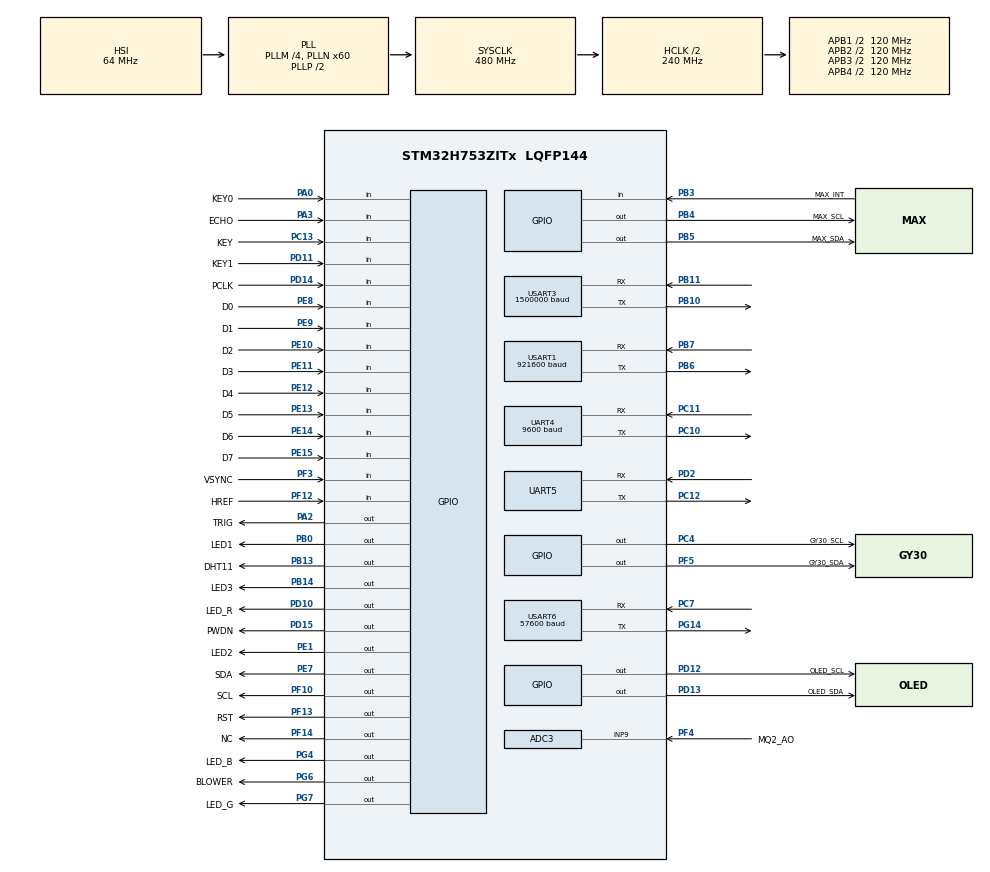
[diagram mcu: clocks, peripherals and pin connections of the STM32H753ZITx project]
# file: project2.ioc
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ADC3.Channel-2\#ChannelRegularConversion=ADC_CHANNEL_9
ADC3.ClockPrescalerADC3=ADC_CLOCK_ASYNC_DIV10
ADC3.NbrOfConversionFlag=1
ADC3.OffsetNumber-2\#ChannelRegularConversion=ADC_OFFSET_NONE
ADC3.OffsetSignedSaturation-2\#ChannelRegularConversion=DISABLE
ADC3.Rank-2\#ChannelRegularConversion=1
ADC3.SamplingTime-2\#ChannelRegularConversion=ADC_SAMPLETIME_387CYCLES_5
CORTEX_M7.CPU_DCache=Enabled
CORTEX_M7.CPU_ICache=Enabled
CORTEX_M7.default_mode_Activation=1
Dma.Request0=USART1_TX
Dma.Request1=UART4_RX
Dma.Request2=USART3_RX
Dma.UART4_RX.1.Direction=DMA_PERIPH_TO_MEMORY
Dma.UART4_RX.1.EventEnable=DISABLE
Dma.UART4_RX.1.FIFOMode=DMA_FIFOMODE_DISABLE
Dma.UART4_RX.1.Instance=DMA1_Stream1
Dma.UART4_RX.1.MemDataAlignment=DMA_MDATAALIGN_BYTE
Dma.UART4_RX.1.MemInc=DMA_MINC_ENABLE
Dma.UART4_RX.1.Mode=DMA_NORMAL
Dma.UART4_RX.1.PeriphDataAlignment=DMA_PDATAALIGN_BYTE
Dma.UART4_RX.1.PeriphInc=DMA_PINC_DISABLE
Dma.UART4_RX.1.Polarity=HAL_DMAMUX_REQ_GEN_RISING
Dma.UART4_RX.1.Priority=DMA_PRIORITY_LOW
Dma.UART4_RX.1.RequestNumber=1
Dma.UART4_RX.1.SignalID=NONE
Dma.UART4_RX.1.SyncEnable=DISABLE
Dma.UART4_RX.1.SyncPolarity=HAL_DMAMUX_SYNC_NO_EVENT
Dma.UART4_RX.1.SyncRequestNumber=1
Dma.UART4_RX.1.SyncSignalID=NONE
Dma.USART1_TX.0.Direction=DMA_MEMORY_TO_PERIPH
Dma.USART1_TX.0.EventEnable=DISABLE
Dma.USART1_TX.0.FIFOMode=DMA_FIFOMODE_DISABLE
Dma.USART1_TX.0.Instance=DMA1_Stream0
Dma.USART1_TX.0.MemDataAlignment=DMA_MDATAALIGN_BYTE
Dma.USART1_TX.0.MemInc=DMA_MINC_ENABLE
Dma.USART1_TX.0.Mode=DMA_NORMAL
Dma.USART1_TX.0.PeriphDataAlignment=DMA_PDATAALIGN_BYTE
Dma.USART1_TX.0.PeriphInc=DMA_PINC_DISABLE
Dma.USART1_TX.0.Polarity=HAL_DMAMUX_REQ_GEN_RISING
Dma.USART1_TX.0.Priority=DMA_PRIORITY_MEDIUM
Dma.USART1_TX.0.RequestNumber=1
Dma.USART1_TX.0.SignalID=NONE
Dma.USART1_TX.0.SyncEnable=DISABLE
Dma.USART1_TX.0.SyncPolarity=HAL_DMAMUX_SYNC_NO_EVENT
Dma.USART1_TX.0.SyncRequestNumber=1
Dma.USART1_TX.0.SyncSignalID=NONE
Dma.USART3_RX.2.Direction=DMA_PERIPH_TO_MEMORY
Dma.USART3_RX.2.EventEnable=DISABLE
Dma.USART3_RX.2.FIFOMode=DMA_FIFOMODE_DISABLE
Dma.USART3_RX.2.Instance=DMA1_Stream2
Dma.USART3_RX.2.MemDataAlignment=DMA_MDATAALIGN_BYTE
Dma.USART3_RX.2.MemInc=DMA_MINC_ENABLE
Dma.USART3_RX.2.Mode=DMA_NORMAL
Dma.USART3_RX.2.PeriphDataAlignment=DMA_PDATAALIGN_BYTE
Dma.USART3_RX.2.PeriphInc=DMA_PINC_DISABLE
Dma.USART3_RX.2.Polarity=HAL_DMAMUX_REQ_GEN_RISING
Dma.USART3_RX.2.Priority=DMA_PRIORITY_VERY_HIGH
Dma.USART3_RX.2.RequestNumber=1
Dma.USART3_RX.2.SignalID=NONE
Dma.USART3_RX.2.SyncEnable=DISABLE
Dma.USART3_RX.2.SyncPolarity=HAL_DMAMUX_SYNC_NO_EVENT
Dma.USART3_RX.2.SyncRequestNumber=1
Dma.USART3_RX.2.SyncSignalID=NONE
FREERTOS.BinarySemaphores01=frameReadySem,Dynamic,NULL,Available;uartTxSem,Dynamic,NULL,Available
FREERTOS.Mutexes01=cameraMutex,Dynamic,NULL,Available;uartMutex,Dynamic,NULL,Available
FREERTOS.Queues01=imageQueue,2,20,1,Dynamic,NULL,NULL;cmdQueue,8,64,1,Dynamic,NULL,NULL;resultQueue,4,12,1,Dynamic,NULL,NULL
FREERTOS.Tasks01=Task_led_proc,24,128,AppTask_led_proc,Default,NULL,Dynamic,NULL,NULL;Task_key_read,52,256,AppTask_key_read,Default,NULL,Dynamic,NULL,NULL;Task_key_proc,41,512,AppTask_key_proc,Default,NULL,Dynamic,NULL,NULL;Task_oled_disp,17,512,AppTask_oled_disp,Default,NULL,Dynamic,NULL,NULL;Task_openmv_rx,37,2048,AppTask_openmv_rx,As weak,NULL,Dynamic,NULL,NULL;Task_uart_tx,38,2048,AppTask_uart_tx,As weak,NULL,Dynamic,NULL,NULL;Task_uart_rx,32,1024,AppTask_uart_rx,As weak,NULL,Dynamic,NULL,NULL;Task_inference,30,4096,AppTask_inference,As weak,NULL,Dynamic,NULL,NULL;Task_sensor,24,512,AppTask_sensor,As weak,NULL,Dynamic,NULL,NULL
FREERTOS.configENABLE_FPU=1
FREERTOS.configMAX_TASK_NAME_LEN=32
FREERTOS.configTOTAL_HEAP_SIZE=120000
Mcu.Family=STM32H7
Mcu.Name=STM32H753ZITx
Mcu.Package=LQFP144
NVIC.DMA1_Stream0_IRQn=true\:5\:0\:false\:false\:true\:true\:false\:true\:true
NVIC.DMA1_Stream1_IRQn=true\:5\:0\:false\:false\:true\:true\:false\:true\:true
NVIC.DMA1_Stream2_IRQn=true\:5\:0\:false\:false\:true\:true\:false\:true\:true
NVIC.PriorityGroup=NVIC_PRIORITYGROUP_4
NVIC.TIM2_IRQn=true\:5\:0\:false\:false\:true\:true\:true\:true\:true
NVIC.TIM6_DAC_IRQn=true\:0\:0\:true\:false\:true\:false\:false\:true\:true
NVIC.TimeBase=TIM6_DAC_IRQn
NVIC.TimeBaseIP=TIM6
NVIC.UART4_IRQn=true\:5\:0\:false\:false\:true\:true\:true\:true\:true
NVIC.UART5_IRQn=true\:5\:0\:false\:false\:true\:true\:true\:true\:true
NVIC.USART1_IRQn=true\:5\:0\:false\:false\:true\:true\:false\:true\:true
NVIC.USART3_IRQn=true\:5\:0\:false\:false\:true\:true\:true\:true\:true
NVIC.USART6_IRQn=true\:5\:0\:false\:false\:true\:true\:true\:true\:true
PA0.GPIO_Label=KEY0
PA0.GPIO_PuPd=GPIO_PULLUP
PA0.Signal=GPIO_Input
PA13\ (JTMS/SWDIO).Mode=Serial_Wire
PA13\ (JTMS/SWDIO).Signal=DEBUG_JTMS-SWDIO
PA14\ (JTCK/SWCLK).Mode=Serial_Wire
PA14\ (JTCK/SWCLK).Signal=DEBUG_JTCK-SWCLK
PA2.GPIO_Label=TRIG
PA2.GPIO_Speed=GPIO_SPEED_FREQ_VERY_HIGH
PA2.Signal=GPIO_Output
PA3.GPIO_Label=ECHO
PA3.Signal=GPIO_Input
PB0.GPIO_Label=LED1
PB0.Signal=GPIO_Output
PB10.Mode=Asynchronous
PB10.Signal=USART3_TX
PB11.Mode=Asynchronous
PB11.Signal=USART3_RX
PB13.GPIO_Label=DHT11
PB13.GPIO_Speed=GPIO_SPEED_FREQ_VERY_HIGH
PB13.Signal=GPIO_Output
PB14.GPIO_Label=LED3
PB14.Signal=GPIO_Output
PB3\ (JTDO/TRACESWO).GPIO_Label=MAX_INT
PB3\ (JTDO/TRACESWO).Signal=GPIO_Input
PB4\ (NJTRST).GPIO_Label=MAX_SCL
PB4\ (NJTRST).GPIO_Speed=GPIO_SPEED_FREQ_VERY_HIGH
PB4\ (NJTRST).Signal=GPIO_Output
PB5.GPIO_Label=MAX_SDA
PB5.GPIO_Speed=GPIO_SPEED_FREQ_VERY_HIGH
PB5.Signal=GPIO_Output
PB6.Mode=Asynchronous
PB6.Signal=USART1_TX
PB7.Mode=Asynchronous
PB7.Signal=USART1_RX
PC10.Mode=Asynchronous
PC10.Signal=UART4_TX
PC11.Mode=Asynchronous
PC11.Signal=UART4_RX
PC12.Mode=Asynchronous
PC12.Signal=UART5_TX
PC13.GPIO_Label=KEY
PC13.GPIO_PuPd=GPIO_PULLUP
PC13.Signal=GPIO_Input
PC4.GPIO_Label=GY30_SCL
PC4.Signal=GPIO_Output
PC7.Mode=Asynchronous
PC7.Signal=USART6_RX
PD10.GPIO_Label=LED_R
PD10.Signal=GPIO_Output
PD11.GPIO_Label=KEY1
PD11.GPIO_PuPd=GPIO_PULLUP
PD11.Signal=GPIO_Input
PD12.GPIO_Label=OLED_SCL
PD12.GPIO_Speed=GPIO_SPEED_FREQ_VERY_HIGH
PD12.Signal=GPIO_Output
PD13.GPIO_Label=OLED_SDA
PD13.GPIO_Speed=GPIO_SPEED_FREQ_VERY_HIGH
PD13.Signal=GPIO_Output
PD14.GPIO_Label=PCLK
PD14.GPIO_PuPd=GPIO_PULLUP
PD14.Signal=GPIO_Input
PD15.GPIO_Label=PWDN
PD15.GPIO_Speed=GPIO_SPEED_FREQ_VERY_HIGH
PD15.Signal=GPIO_Output
PD2.Mode=Asynchronous
PD2.Signal=UART5_RX
PE1.GPIO_Label=LED2
PE1.Signal=GPIO_Output
PE10.GPIO_Label=D2
PE10.GPIO_Mode=GPIO_MODE_INPUT
PE10.GPIO_PuPd=GPIO_PULLUP
PE10.Signal=GPIO_Input
PE11.GPIO_Label=D3
PE11.GPIO_Mode=GPIO_MODE_INPUT
PE11.GPIO_PuPd=GPIO_PULLUP
PE11.Signal=GPIO_Input
PE12.GPIO_Label=D4
PE12.GPIO_Mode=GPIO_MODE_INPUT
PE12.GPIO_PuPd=GPIO_PULLUP
PE12.Signal=GPIO_Input
PE13.GPIO_Label=D5
PE13.GPIO_Mode=GPIO_MODE_INPUT
PE13.GPIO_PuPd=GPIO_PULLUP
PE13.Signal=GPIO_Input
PE14.GPIO_Label=D6
PE14.GPIO_Mode=GPIO_MODE_INPUT
PE14.GPIO_PuPd=GPIO_PULLUP
PE14.Signal=GPIO_Input
PE15.GPIO_Label=D7
PE15.Signal=GPIO_Input
PE7.GPIO_Label=SDA
PE7.GPIO_Speed=GPIO_SPEED_FREQ_VERY_HIGH
PE7.Signal=GPIO_Output
PE8.GPIO_Label=D0
PE8.GPIO_Mode=GPIO_MODE_INPUT
PE8.GPIO_PuPd=GPIO_PULLUP
PE8.Signal=GPIO_Input
PE9.GPIO_Label=D1
PE9.GPIO_Mode=GPIO_MODE_INPUT
PE9.GPIO_PuPd=GPIO_PULLUP
PE9.Signal=GPIO_Input
PF10.GPIO_Label=SCL
PF10.GPIO_Speed=GPIO_SPEED_FREQ_VERY_HIGH
PF10.Signal=GPIO_Output
PF12.GPIO_Label=HREF
PF12.Signal=GPIO_Input
PF13.GPIO_Label=RST
PF13.GPIO_Speed=GPIO_SPEED_FREQ_VERY_HIGH
PF13.Signal=GPIO_Output
PF14.GPIO_Label=NC
PF14.Signal=GPIO_Output
PF3.GPIO_Label=VSYNC
PF3.Signal=GPIO_Input
PF4.GPIO_Label=MQ2_AO
PF4.Signal=SharedAnalog_PF4
PF5.GPIO_Label=GY30_SDA
PF5.Signal=GPIO_Output
PG14.Mode=Asynchronous
PG14.Signal=USART6_TX
PG4.GPIO_Label=LED_B
PG4.Signal=GPIO_Output
PG6.GPIO_Label=BLOWER
PG6.Signal=GPIO_Output
PG7.GPIO_Label=LED_G
PG7.Signal=GPIO_Output
PH0-OSC_IN\ (PH0).Mode=HSE-External-Clock-Source
PH0-OSC_IN\ (PH0).Signal=RCC_OSC_IN
ProjectManager.HeapSize=0x4000
ProjectManager.StackSize=0x4000
ProjectManager.TargetToolchain=MDK-ARM V5
RCC.ADCFreq_Value=80000000
RCC.APB1Freq_Value=120000000
RCC.APB2Freq_Value=120000000
RCC.APB3Freq_Value=120000000
RCC.APB4Freq_Value=120000000
RCC.CortexFreq_Value=480000000
RCC.D1PPRE=RCC_APB3_DIV2
RCC.D2PPRE1=RCC_APB1_DIV2
RCC.D2PPRE2=RCC_APB2_DIV2
RCC.D3PPRE=RCC_APB4_DIV2
RCC.DIVM1=4
RCC.DIVM2=4
RCC.DIVN1=60
RCC.DIVN2=10
RCC.HCLKFreq_Value=240000000
RCC.HPRE=RCC_HCLK_DIV2
RCC.HSE_VALUE=8000000
RCC.PLL2FRACN=0
RCC.PLL3FRACN=0
RCC.PLLFRACN=0
RCC.SYSCLKFreq_VALUE=480000000
RCC.SYSCLKSource=RCC_SYSCLKSOURCE_PLLCLK
RCC.USBFreq_Value=480000000
SH.SharedAnalog_PF4.0=GPIO_Analog
SH.SharedAnalog_PF4.1=ADC3_INP9,IN9-Single-Ended
STMicroelectronics.X-CUBE-AI.10.2.0.ActivationBufferSizeList=169532
STMicroelectronics.X-CUBE-AI.10.2.0.ActivationBuffers=pool0
STMicroelectronics.X-CUBE-AI.10.2.0.ActivationNames=pool0
STMicroelectronics.X-CUBE-AI.10.2.0.ActivationSizes=AI_NETWORK_1_DATA_ACTIVATION_1_SIZE
STMicroelectronics.X-CUBE-AI.10.2.0.ApplicationCcDeviceJjApplication=ApplicationTemplate
STMicroelectronics.X-CUBE-AI.10.2.0.HeapSize=0x4000
STMicroelectronics.X-CUBE-AI.10.2.0.InternalRamActivationBufferMaxSize=AI_NETWORK_1_DATA_ACTIVATIONS_SIZE
STMicroelectronics.X-CUBE-AI.10.2.0.LatestDirectoryUsed-735abd6a2dead4f7d4e1e6c74ac3a1c572184ff07e9baa3c7e2df6b51f182d50=E\:\\Embedded\\Project\\Edge_AI_Gesture_Recognition-main\\Python
STMicroelectronics.X-CUBE-AI.10.2.0.MaximumNumberOfInputLayer=1
STMicroelectronics.X-CUBE-AI.10.2.0.MaximumNumberOfOutputLayer=1
STMicroelectronics.X-CUBE-AI.10.2.0.MaximumSizeOfInputLayer=1
STMicroelectronics.X-CUBE-AI.10.2.0.MaximumSizeOfOutputLayer=1
STMicroelectronics.X-CUBE-AI.10.2.0.ModelActualCompression-735abd6a2dead4f7d4e1e6c74ac3a1c572184ff07e9baa3c7e2df6b51f182d50=0.0
STMicroelectronics.X-CUBE-AI.10.2.0.ModelCompression-735abd6a2dead4f7d4e1e6c74ac3a1c572184ff07e9baa3c7e2df6b51f182d50=None
STMicroelectronics.X-CUBE-AI.10.2.0.ModelFlashOccupation-735abd6a2dead4f7d4e1e6c74ac3a1c572184ff07e9baa3c7e2df6b51f182d50=137900
STMicroelectronics.X-CUBE-AI.10.2.0.ModelHashList=735abd6a2dead4f7d4e1e6c74ac3a1c572184ff07e9baa3c7e2df6b51f182d50
STMicroelectronics.X-CUBE-AI.10.2.0.ModelKind-735abd6a2dead4f7d4e1e6c74ac3a1c572184ff07e9baa3c7e2df6b51f182d50=ONNX
STMicroelectronics.X-CUBE-AI.10.2.0.ModelMacc-735abd6a2dead4f7d4e1e6c74ac3a1c572184ff07e9baa3c7e2df6b51f182d50=10995965
STMicroelectronics.X-CUBE-AI.10.2.0.ModelName-735abd6a2dead4f7d4e1e6c74ac3a1c572184ff07e9baa3c7e2df6b51f182d50=network_1
STMicroelectronics.X-CUBE-AI.10.2.0.ModelNameList=network_1
STMicroelectronics.X-CUBE-AI.10.2.0.ModelRamOccupation-735abd6a2dead4f7d4e1e6c74ac3a1c572184ff07e9baa3c7e2df6b51f182d50=169532
STMicroelectronics.X-CUBE-AI.10.2.0.ModelStructureFile-735abd6a2dead4f7d4e1e6c74ac3a1c572184ff07e9baa3c7e2df6b51f182d50=E\:\\Embedded\\Project\\Edge_AI_Gesture_Recognition-main\\Python\\gesture_v2_strongaug_int8.onnx
STMicroelectronics.X-CUBE-AI.10.2.0.ModelType-735abd6a2dead4f7d4e1e6c74ac3a1c572184ff07e9baa3c7e2df6b51f182d50=STM32Cube.AI MCU runtime
STMicroelectronics.X-CUBE-AI.10.2.0.ReadyForCodeGeneration=true
STMicroelectronics.X-CUBE-AI.10.2.0.StackSize=0x4000
STMicroelectronics.X-CUBE-AI.10.2.0.WorkingBufferStartAddrList=0xFFFFFFFF
STMicroelectronics.X-CUBE-AI.10.2.0.XAaCUBEAaAICcArtificialOoIntelligenceJjCore=true
STMicroelectronics.X-CUBE-AI.10.2.0.copyWeightToRam=false
STMicroelectronics.X-CUBE-AI.10.2.0.customLayerConfigEnabled=false
STMicroelectronics.X-CUBE-AI.10.2.0.noOnnxIoTranspose=false
STMicroelectronics.X-CUBE-AI.10.2.0.useInputAllocation=true
STMicroelectronics.X-CUBE-AI.10.2.0.useOutputAllocation=true
TIM2.Period=100-1
TIM2.Prescaler=240-1
UART4.BaudRate=9600
USART1.BaudRate=921600
USART1.VirtualMode-Asynchronous=VM_ASYNC
USART3.BaudRate=1500000
USART3.VirtualMode-Asynchronous=VM_ASYNC
USART6.BaudRate=57600
USART6.VirtualMode-Asynchronous=VM_ASYNC
VP_FREERTOS_VS_CMSIS_V2.Mode=CMSIS_V2
VP_MEMORYMAP_VS_MEMORYMAP.Mode=CurAppReg
VP_STMicroelectronics.X-CUBE-AI_VS_ArtificialOoIntelligenceJjXAaCUBEAaAI_10.2.0.Mode=ArtificialOoIntelligenceJjXAaCUBEAaAI
VP_STMicroelectronics.X-CUBE-AI_VS_DeviceJjApplication_10.2.0.Mode=DeviceJjApplication
VP_SYS_VS_tim6.Mode=TIM6
VP_TIM2_VS_ClockSourceINT.Mode=Internal
board=custom

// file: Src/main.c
/* USER CODE BEGIN Header */
/**
  ******************************************************************************
  * @file           : main.c
  * @brief          : Main program body
  ******************************************************************************
  * @attention
  *
  * Copyright (c) 2025 STMicroelectronics.
  * All rights reserved.
  *
  * This software is licensed under terms that can be found in the LICENSE file
  * in the root directory of this software component.
  * If no LICENSE file comes with this software, it is provided AS-IS.
  *
  ******************************************************************************
  */
/* USER CODE END Header */
#include "main.h"
#include "cmsis_os.h"
#include "adc.h"
#include "dma.h"
#include "memorymap.h"
#include "tim.h"
#include "usart.h"
#include "gpio.h"
#include "app_x-cube-ai.h"

/* USER CODE BEGIN Includes */

#include "headfile.h"

/* USER CODE END Includes */

/* USER CODE BEGIN PV */
//UART_HandleTypeDef huart1;
//DMA_HandleTypeDef hdma_usart1_tx;
/* USER CODE END PV */

void SystemClock_Config(void);
static void MPU_Config(void);
void MX_FREERTOS_Init(void);

int main(void)
{

  /* USER CODE BEGIN 1 */
	//SCB_DisableDCache();
  /* USER CODE END 1 */

  /* MPU Configuration--------------------------------------------------------*/
  MPU_Config();

  /* Enable the CPU Cache */

  /* Enable I-Cache---------------------------------------------------------*/
  SCB_EnableICache();

  /* Enable D-Cache---------------------------------------------------------*/
  SCB_EnableDCache();

  /* MCU Configuration--------------------------------------------------------*/

  /* Reset of all peripherals, Initializes the Flash interface and the Systick. */
  HAL_Init();

  /* USER CODE BEGIN Init */
	__HAL_RCC_CRC_CLK_ENABLE();
  /* USER CODE END Init */

  /* Configure the system clock */
  SystemClock_Config();

  /* Initialize all configured peripherals */
  MX_GPIO_Init();
  MX_DMA_Init();
  MX_USART1_UART_Init();
  MX_USART3_UART_Init();
  MX_TIM2_Init();
  MX_UART4_Init();
  MX_USART6_UART_Init();
  MX_UART5_Init();
  MX_ADC3_Init();
  MX_X_CUBE_AI_Init();
  /* USER CODE BEGIN 2 */
  //HAL_UART_AbortReceive(&huart3);

  OLED_Init();
  //CameraTask_Init();
  //OpenMVRxTask_Init();

  //adc_dma_flag = HAL_ADC_Start_DMA(&hadc3, (uint32_t*)&g_adc3Buffer, 32);

  // 初始化手势控制系统
  GestureControl_Init();

  // 注册蓝牙命令回调
  BT_RegisterCommandCallback(GestureControl_HandleBluetoothCmd);

  ESP8266_Init();
  /* USER CODE END 2 */

  /* Init scheduler */
  osKernelInitialize();

  /* Call init function for freertos objects (in cmsis_os2.c) */
  MX_FREERTOS_Init();

  /* Start scheduler */
  osKernelStart();

  /* We should never get here as control is now taken by the scheduler */

  /* Infinite loop */
  while (1)
  {

  }
}

void SystemClock_Config(void)
{
  RCC_OscInitTypeDef RCC_OscInitStruct = {0};
  RCC_ClkInitTypeDef RCC_ClkInitStruct = {0};

  /** Supply configuration update enable
  */
  HAL_PWREx_ConfigSupply(PWR_LDO_SUPPLY);

  /** Configure the main internal regulator output voltage
  */
  __HAL_PWR_VOLTAGESCALING_CONFIG(PWR_REGULATOR_VOLTAGE_SCALE0);

  while(!__HAL_PWR_GET_FLAG(PWR_FLAG_VOSRDY)) {}

  /** Initializes the RCC Oscillators according to the specified parameters
  * in the RCC_OscInitTypeDef structure.
  */
  RCC_OscInitStruct.OscillatorType = RCC_OSCILLATORTYPE_HSI;
  RCC_OscInitStruct.HSIState = RCC_HSI_DIV1;
  RCC_OscInitStruct.HSICalibrationValue = RCC_HSICALIBRATION_DEFAULT;
  RCC_OscInitStruct.PLL.PLLState = RCC_PLL_ON;
  RCC_OscInitStruct.PLL.PLLSource = RCC_PLLSOURCE_HSI;
  RCC_OscInitStruct.PLL.PLLM = 4;
  RCC_OscInitStruct.PLL.PLLN = 60;
  RCC_OscInitStruct.PLL.PLLP = 2;
  RCC_OscInitStruct.PLL.PLLQ = 2;
  RCC_OscInitStruct.PLL.PLLR = 2;
  RCC_OscInitStruct.PLL.PLLRGE = RCC_PLL1VCIRANGE_3;
  RCC_OscInitStruct.PLL.PLLVCOSEL = RCC_PLL1VCOWIDE;
  RCC_OscInitStruct.PLL.PLLFRACN = 0;
  if (HAL_RCC_OscConfig(&RCC_OscInitStruct) != HAL_OK)
  {
    Error_Handler();
  }

  /** Initializes the CPU, AHB and APB buses clocks
  */
  RCC_ClkInitStruct.ClockType = RCC_CLOCKTYPE_HCLK|RCC_CLOCKTYPE_SYSCLK
                              |RCC_CLOCKTYPE_PCLK1|RCC_CLOCKTYPE_PCLK2
                              |RCC_CLOCKTYPE_D3PCLK1|RCC_CLOCKTYPE_D1PCLK1;
  RCC_ClkInitStruct.SYSCLKSource = RCC_SYSCLKSOURCE_PLLCLK;
  RCC_ClkInitStruct.SYSCLKDivider = RCC_SYSCLK_DIV1;
  RCC_ClkInitStruct.AHBCLKDivider = RCC_HCLK_DIV2;
  RCC_ClkInitStruct.APB3CLKDivider = RCC_APB3_DIV2;
  RCC_ClkInitStruct.APB1CLKDivider = RCC_APB1_DIV2;
  RCC_ClkInitStruct.APB2CLKDivider = RCC_APB2_DIV2;
  RCC_ClkInitStruct.APB4CLKDivider = RCC_APB4_DIV2;

  if (HAL_RCC_ClockConfig(&RCC_ClkInitStruct, FLASH_LATENCY_4) != HAL_OK)
  {
    Error_Handler();
  }
}

 /* MPU Configuration */

void MPU_Config(void)
{
  MPU_Region_InitTypeDef MPU_InitStruct = {0};

  /* Disables the MPU */
  HAL_MPU_Disable();

  /** Initializes and configures the Region and the memory to be protected
  */
  MPU_InitStruct.Enable = MPU_REGION_ENABLE;
  MPU_InitStruct.Number = MPU_REGION_NUMBER0;
  MPU_InitStruct.BaseAddress = 0x0;
  MPU_InitStruct.Size = MPU_REGION_SIZE_4GB;
  MPU_InitStruct.SubRegionDisable = 0x87;
  MPU_InitStruct.TypeExtField = MPU_TEX_LEVEL0;
  MPU_InitStruct.AccessPermission = MPU_REGION_NO_ACCESS;
  MPU_InitStruct.DisableExec = MPU_INSTRUCTION_ACCESS_DISABLE;
  MPU_InitStruct.IsShareable = MPU_ACCESS_SHAREABLE;
  MPU_InitStruct.IsCacheable = MPU_ACCESS_NOT_CACHEABLE;
  MPU_InitStruct.IsBufferable = MPU_ACCESS_NOT_BUFFERABLE;

  HAL_MPU_ConfigRegion(&MPU_InitStruct);
  /* Enables the MPU */
  HAL_MPU_Enable(MPU_PRIVILEGED_DEFAULT);

}

void HAL_TIM_PeriodElapsedCallback(TIM_HandleTypeDef *htim)
{
  if (htim->Instance == TIM6) {
    HAL_IncTick();
  }
  /* USER CODE BEGIN Callback 1 */

  // TIM2定时器溢出中断 - 用于软件PWM
  if (htim->Instance == TIM2) {
    GestureControl_PWM_Update();
  }

  /* USER CODE END Callback 1 */
}

void Error_Handler(void)
{
  __disable_irq();
  while (1)
  {
  }
}

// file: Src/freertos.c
/* USER CODE BEGIN Header */
/**
  ******************************************************************************
  * File Name          : freertos.c
  * Description        : Code for freertos applications
  ******************************************************************************
  * @attention
  *
  * Copyright (c) 2025 STMicroelectronics.
  * All rights reserved.
  *
  * This software is licensed under terms that can be found in the LICENSE file
  * in the root directory of this software component.
  * If no LICENSE file comes with this software, it is provided AS-IS.
  *
  ******************************************************************************
  */
/* USER CODE END Header */

#include "FreeRTOS.h"
#include "task.h"
#include "main.h"
#include "cmsis_os.h"

/* USER CODE BEGIN Includes */

#include "headfile.h"

/* USER CODE END Includes */

/* USER CODE BEGIN Variables */

extern UART_HandleTypeDef huart1;

// 全局句柄别名（指向CubeMX生成的Handle）
// 这些在task_common.h中声明为extern
osMessageQueueId_t imageQueue;
osMessageQueueId_t cmdQueue;
osMessageQueueId_t resultQueue;
osMutexId_t cameraMutex;
osMutexId_t uartMutex;
osSemaphoreId_t frameReadySem;
osSemaphoreId_t uartTxSem;

/* USER CODE END Variables */
/* Definitions for Task_led_proc */
osThreadId_t Task_led_procHandle;
const osThreadAttr_t Task_led_proc_attributes = {
  .name = "Task_led_proc",
  .stack_size = 128 * 4,
  .priority = (osPriority_t) osPriorityNormal,
};
/* Definitions for Task_key_read */
osThreadId_t Task_key_readHandle;
const osThreadAttr_t Task_key_read_attributes = {
  .name = "Task_key_read",
  .stack_size = 256 * 4,
  .priority = (osPriority_t) osPriorityRealtime4,
};
/* Definitions for Task_key_proc */
osThreadId_t Task_key_procHandle;
const osThreadAttr_t Task_key_proc_attributes = {
  .name = "Task_key_proc",
  .stack_size = 512 * 4,
  .priority = (osPriority_t) osPriorityHigh1,
};
/* Definitions for Task_oled_disp */
osThreadId_t Task_oled_dispHandle;
const osThreadAttr_t Task_oled_disp_attributes = {
  .name = "Task_oled_disp",
  .stack_size = 512 * 4,
  .priority = (osPriority_t) osPriorityBelowNormal1,
};
/* Definitions for Task_openmv_rx */
osThreadId_t Task_openmv_rxHandle;
const osThreadAttr_t Task_openmv_rx_attributes = {
  .name = "Task_openmv_rx",
  .stack_size = 2048 * 4,
  .priority = (osPriority_t) osPriorityAboveNormal5,
};
/* Definitions for Task_uart_tx */
osThreadId_t Task_uart_txHandle;
const osThreadAttr_t Task_uart_tx_attributes = {
  .name = "Task_uart_tx",
  .stack_size = 2048 * 4,
  .priority = (osPriority_t) osPriorityAboveNormal6,
};
/* Definitions for Task_uart_rx */
osThreadId_t Task_uart_rxHandle;
const osThreadAttr_t Task_uart_rx_attributes = {
  .name = "Task_uart_rx",
  .stack_size = 1024 * 4,
  .priority = (osPriority_t) osPriorityAboveNormal,
};
/* Definitions for Task_inference */
osThreadId_t Task_inferenceHandle;
const osThreadAttr_t Task_inference_attributes = {
  .name = "Task_inference",
  .stack_size = 4096 * 4,
  .priority = (osPriority_t) osPriorityNormal6,
};
/* Definitions for Task_sensor */
osThreadId_t Task_sensorHandle;
const osThreadAttr_t Task_sensor_attributes = {
  .name = "Task_sensor",
  .stack_size = 512 * 4,
  .priority = (osPriority_t) osPriorityNormal,
};
/* Definitions for imageQueue */
osMessageQueueId_t imageQueueHandle;
const osMessageQueueAttr_t imageQueue_attributes = {
  .name = "imageQueue"
};
/* Definitions for cmdQueue */
osMessageQueueId_t cmdQueueHandle;
const osMessageQueueAttr_t cmdQueue_attributes = {
  .name = "cmdQueue"
};
/* Definitions for resultQueue */
osMessageQueueId_t resultQueueHandle;
const osMessageQueueAttr_t resultQueue_attributes = {
  .name = "resultQueue"
};
/* Definitions for cameraMutex */
osMutexId_t cameraMutexHandle;
const osMutexAttr_t cameraMutex_attributes = {
  .name = "cameraMutex"
};
/* Definitions for uartMutex */
osMutexId_t uartMutexHandle;
const osMutexAttr_t uartMutex_attributes = {
  .name = "uartMutex"
};
/* Definitions for frameReadySem */
osSemaphoreId_t frameReadySemHandle;
const osSemaphoreAttr_t frameReadySem_attributes = {
  .name = "frameReadySem"
};
/* Definitions for uartTxSem */
osSemaphoreId_t uartTxSemHandle;
const osSemaphoreAttr_t uartTxSem_attributes = {
  .name = "uartTxSem"
};

void AppTask_led_proc(void *argument);
void AppTask_key_read(void *argument);
void AppTask_key_proc(void *argument);
void AppTask_oled_disp(void *argument);
void AppTask_openmv_rx(void *argument);
void AppTask_uart_tx(void *argument);
void AppTask_uart_rx(void *argument);
void AppTask_inference(void *argument);
void AppTask_sensor(void *argument);

void MX_FREERTOS_Init(void); /* (MISRA C 2004 rule 8.1) */

void MX_FREERTOS_Init(void) {
  /* Create the mutex(es) */
  /* creation of cameraMutex */
  cameraMutexHandle = osMutexNew(&cameraMutex_attributes);

  /* creation of uartMutex */
  uartMutexHandle = osMutexNew(&uartMutex_attributes);

  /* USER CODE BEGIN RTOS_MUTEX */
  /* add mutexes, ... */

  // 初始化全局句柄别名
  cameraMutex = cameraMutexHandle;
  uartMutex = uartMutexHandle;

  /* USER CODE END RTOS_MUTEX */

  /* Create the semaphores(s) */
  /* creation of frameReadySem */
  frameReadySemHandle = osSemaphoreNew(1, 1, &frameReadySem_attributes);

  /* creation of uartTxSem */
  uartTxSemHandle = osSemaphoreNew(1, 1, &uartTxSem_attributes);

  /* USER CODE BEGIN RTOS_SEMAPHORES */
  /* add semaphores, ... */

  // 初始化全局句柄别名
  frameReadySem = frameReadySemHandle;
  uartTxSem = uartTxSemHandle;

  /* USER CODE END RTOS_SEMAPHORES */

  /* Create the queue(s) */
  /* creation of imageQueue */
  imageQueueHandle = osMessageQueueNew (2, 20, &imageQueue_attributes);

  /* creation of cmdQueue */
  cmdQueueHandle = osMessageQueueNew (8, 64, &cmdQueue_attributes);

  /* creation of resultQueue */
  resultQueueHandle = osMessageQueueNew (4, 12, &resultQueue_attributes);

  /* USER CODE BEGIN RTOS_QUEUES */
  /* add queues, ... */

  // 初始化全局句柄别名
  imageQueue = imageQueueHandle;
  cmdQueue = cmdQueueHandle;
  resultQueue = resultQueueHandle;

  /* USER CODE END RTOS_QUEUES */

  /* Create the thread(s) */
  /* creation of Task_led_proc */
  Task_led_procHandle = osThreadNew(AppTask_led_proc, NULL, &Task_led_proc_attributes);

  /* creation of Task_key_read */
  Task_key_readHandle = osThreadNew(AppTask_key_read, NULL, &Task_key_read_attributes);

  /* creation of Task_key_proc */
  Task_key_procHandle = osThreadNew(AppTask_key_proc, NULL, &Task_key_proc_attributes);

  /* creation of Task_oled_disp */
  Task_oled_dispHandle = osThreadNew(AppTask_oled_disp, NULL, &Task_oled_disp_attributes);

  /* creation of Task_openmv_rx */
  Task_openmv_rxHandle = osThreadNew(AppTask_openmv_rx, NULL, &Task_openmv_rx_attributes);

  /* creation of Task_uart_tx */
  Task_uart_txHandle = osThreadNew(AppTask_uart_tx, NULL, &Task_uart_tx_attributes);

  /* creation of Task_uart_rx */
  Task_uart_rxHandle = osThreadNew(AppTask_uart_rx, NULL, &Task_uart_rx_attributes);

  /* creation of Task_inference */
  Task_inferenceHandle = osThreadNew(AppTask_inference, NULL, &Task_inference_attributes);

  /* creation of Task_sensor */
  Task_sensorHandle = osThreadNew(AppTask_sensor, NULL, &Task_sensor_attributes);

}

void AppTask_led_proc(void *argument)
{
  /* USER CODE BEGIN AppTask_led_proc */
  TickType_t pxPrevioisWakeTime = xTaskGetTickCount();
  /* Infinite loop */
  for(;;)
  {
    LED1_Toggle;
    vTaskDelayUntil(&pxPrevioisWakeTime, pdMS_TO_TICKS(1000));
  }
  /* USER CODE END AppTask_led_proc */
}

void AppTask_key_read(void *argument)
{
  /* USER CODE BEGIN AppTask_key_read */
  TickType_t pxPrevioisWakeTime = xTaskGetTickCount();
  /* Infinite loop */
  for(;;)
  {
    key_task();
    vTaskDelayUntil(&pxPrevioisWakeTime, pdMS_TO_TICKS(10));
  }
  /* USER CODE END AppTask_key_read */
}

void AppTask_key_proc(void *argument)
{
  /* USER CODE BEGIN AppTask_key_proc */
	TickType_t pxPrevioisWakeTime = xTaskGetTickCount();
  /* Infinite loop */
  for(;;)
  {
	  key_proc();
    vTaskDelayUntil(&pxPrevioisWakeTime, pdMS_TO_TICKS(20));
  }
  /* USER CODE END AppTask_key_proc */
}

void AppTask_oled_disp(void *argument)
{
  /* USER CODE BEGIN AppTask_oled_disp */
  TickType_t pxPrevioisWakeTime = xTaskGetTickCount();
  //osThreadSuspend(NULL);
  /* Infinite loop */
  for(;;)
  {
    cnt1++;
    oled_disp();
    //OLED_ShowGestureResult();
    vTaskDelayUntil(&pxPrevioisWakeTime, pdMS_TO_TICKS(30));
  }
  /* USER CODE END AppTask_oled_disp */
}

__weak void AppTask_openmv_rx(void *argument)
{
  for(;;)
  {
    osDelay(1);
  }
}

__weak void AppTask_uart_tx(void *argument)
{
  for(;;)
  {
    osDelay(1);
  }
}

__weak void AppTask_uart_rx(void *argument)
{
  /* USER CODE BEGIN AppTask_uart_rx */
  TickType_t pxPreviousWakeTime = xTaskGetTickCount();

  /* Infinite loop */
  for(;;)
  {
    // 串口接收在中断中处理，这里只做定期检查
    vTaskDelayUntil(&pxPreviousWakeTime, pdMS_TO_TICKS(10));
  }
  /* USER CODE END AppTask_uart_rx */
}

__weak void AppTask_inference(void *argument)
{
  for(;;)
  {
    osDelay(1);
  }
}

__weak void AppTask_sensor(void *argument)
{
  for(;;)
  {
    osDelay(1);
  }
}
